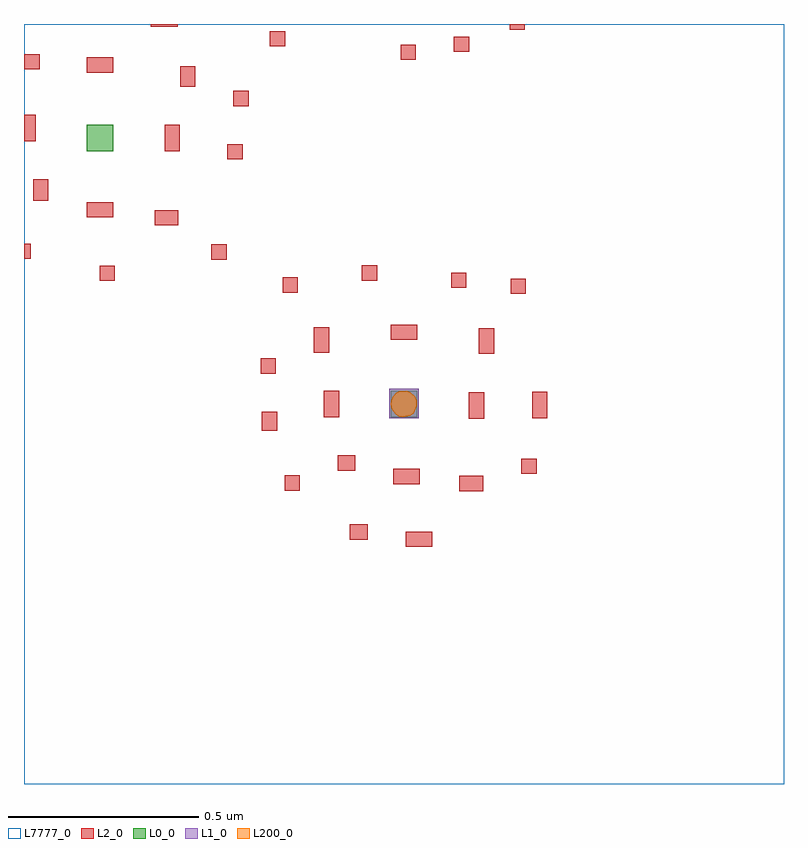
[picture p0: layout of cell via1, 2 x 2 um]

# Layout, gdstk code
import gdstk
lib = gdstk.Library(unit=1e-6, precision=1e-09)
def R(c, l, rs):  # rectangles x0, y0, x1, y1
    for r in rs: c.add(gdstk.rectangle(r[:2], r[2:], *l))
def P(c, l, *ps):  # polygons
    for p in ps: c.add(gdstk.Polygon(p, *l))
L0_0 = (0, 0)
L1_0 = (1, 0)
L2_0 = (2, 0)
L200_0 = (200, 0)
L7777_0 = (7777, 0)

via1 = lib.new_cell('via1')
R(via1, L0_0, [(60.215,59.365,60.285,59.435), (59.415,60.065,59.485,60.135)])
R(via1, L1_0, [(60.211,59.362,60.289,59.44)])
R(via1, L2_0, [(60.254,59.024,60.324,59.064), (60.107,59.043,60.154,59.083), (60.395,59.171,60.459,59.211), (59.936,59.172,59.976,59.212), (60.222,59.189,60.292,59.229), (60.559,59.216,60.599,59.256), (60.076,59.225,60.122,59.265), (59.876,59.329,59.916,59.38), (60.421,59.361,60.461,59.431), (60.587,59.362,60.627,59.432), (60.039,59.365,60.079,59.435), (59.873,59.48,59.913,59.52), (60.447,59.532,60.487,59.6), (60.013,59.535,60.053,59.602), (60.215,59.569,60.285,59.609), (60.531,59.69,60.571,59.73), (59.931,59.693,59.971,59.733), (60.374,59.706,60.414,59.746), (59.449,59.724,59.489,59.764), (60.139,59.725,60.179,59.765), (59.743,59.78,59.783,59.82), (59.25,59.782,59.268,59.822), (59.594,59.87,59.656,59.91), (59.415,59.891,59.485,59.931), (59.274,59.935,59.314,59.991), (59.785,60.044,59.825,60.084), (59.62,60.065,59.66,60.135), (59.25,60.091,59.281,60.161), (59.801,60.184,59.841,60.224), (59.661,60.235,59.701,60.289), (59.415,60.272,59.485,60.312), (59.25,60.281,59.291,60.321), (60.241,60.306,60.281,60.346), (60.381,60.327,60.422,60.367), (59.897,60.341,59.937,60.381), (60.528,60.385,60.568,60.4), (59.584,60.393,59.654,60.4)])
P(via1, L200_0, [(60.247,59.365),(60.238,59.367),(60.229,59.372),(60.22,59.382),(60.216,59.391),(60.215,59.4),(60.216,59.409),(60.22,59.419),(60.229,59.429),(60.238,59.433),(60.257,59.435),(60.266,59.431),(60.28,59.419),(60.284,59.409),(60.284,59.395),(60.275,59.376),(60.266,59.369)])
R(via1, L7777_0, [(59.25,58.4,61.25,60.4)])

lib.write_gds('via1.gds')
